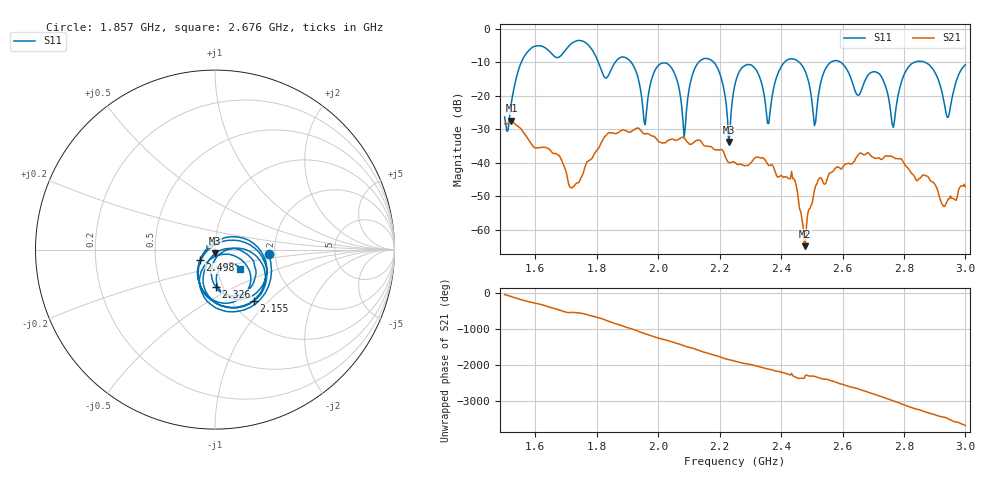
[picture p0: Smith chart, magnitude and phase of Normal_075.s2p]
# HZ S RI R 50
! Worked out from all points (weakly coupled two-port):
!   404 points, 1.5 GHz to 3 GHz, reference 50 ohm
!   highest |S21| = -27.45 dB at 1.522 GHz (marker M1); lowest = -64.9 dB at 2.479 GHz (marker M2)
!   lowest |S11| = -33.8 dB at 2.23 GHz (marker M3), VSWR 1.04, Z = 50.1 - j2.03 ohm
!   |S11| at or under -10 dB: 1.912 GHz to 2.132 GHz (220.4 MHz wide, 10.9 % of centre); 2.181 GHz to 2.411 GHz (230.5 MHz wide, 10 % of centre); 2.593 GHz to 2.835 GHz (241.3 MHz wide, 8.89 % of centre) (the widest 3 of 7)
!   S12 and S22 are empty: the file has one direction only
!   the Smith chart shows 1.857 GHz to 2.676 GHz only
!   S11 on the Smith chart (normalised r, x): 1.857 GHz: 1.86, -0.11; 2.155 GHz: 1.24, -0.82; 2.326 GHz: 0.93, -0.40; 2.498 GHz: 0.84, -0.10; 2.676 GHz: 1.29, -0.29
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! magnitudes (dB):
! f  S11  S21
! 1.5 GHz  -26.3  -28.4
! 1.522 GHz  -21.9  -27.5
! 1.586 GHz  -5.9  -34.2
! 1.753 GHz  -3.7  -43.7
! 1.857 GHz  -10.4  -31.2
! 1.958 GHz  -28.7  -31.4
! 2.002 GHz  -10.8  -33.8
! 2.084 GHz  -32.4  -32.6
! 2.155 GHz  -8.9  -35.0
! 2.23 GHz  -33.8  -40.0
! 2.252 GHz  -15.9  -40.0
! 2.326 GHz  -13.6  -38.3
! 2.36 GHz  -28.3  -40.9
! 2.408 GHz  -10.3  -44.4
! 2.479 GHz  -12.8  -64.9
! 2.498 GHz  -19.7  -52.7
! 2.501 GHz  -22.3  -52.1
! 2.676 GHz  -14.9  -37.4
! 2.751 GHz  -21.0  -38.0
! 2.859 GHz  -9.8  -44.0
! 2.944 GHz  -26.4  -50.8
! 3 GHz  -10.8  -47.2
